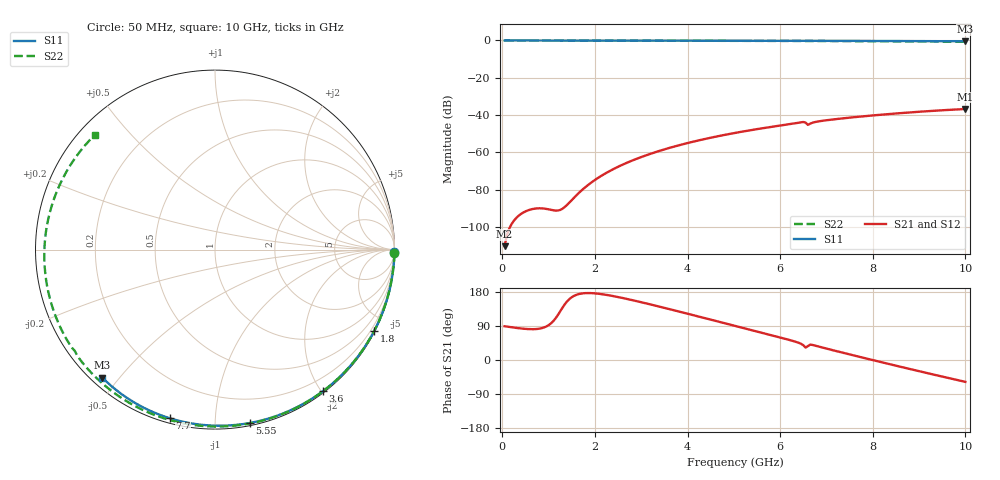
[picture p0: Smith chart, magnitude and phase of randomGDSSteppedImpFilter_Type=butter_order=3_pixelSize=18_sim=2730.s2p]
! freq	dB(S11)	phase(S11)	dB(S12)	phase(S12)
!  dB(S21)	phase(S21)	dB(S22)	phase(S22)
!S-par simulation data
#  GHz  S  DB  R 50
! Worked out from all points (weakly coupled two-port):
!   200 points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, 50 MHz to 10 GHz, reference 50 ohm
!   highest |S21| = -36.78 dB at 10 GHz (marker M1); lowest = -110.4 dB at 50 MHz (marker M2)
!   lowest |S11| = -0.4 dB at 10 GHz (marker M3), VSWR 39.21, Z = 1.54 - j22.6 ohm
!   |S11| at or under -10 dB: nowhere
!   |S22| runs from -0.7 to 0.0 dB; largest |S21 - S12| = 0
!   S11 on the Smith chart (normalised r, x): 50 MHz: open; 1.8 GHz: 0.04, -4.18; 3.6 GHz: 0.02, -2.02; 5.55 GHz: 0.02, -1.22; 7.7 GHz: 0.02, -0.77; 10 GHz: 0.03, -0.45
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0.05  -0.00 -0.8  -110.39 89.1  -110.39 89.1  -0.00 -1.2
0.85  -0.02 -12.8  -90.09 84.0  -90.09 84.0  -0.03 -20.4
1.7  -0.03 -25.5  -80.72 175.2  -80.72 175.2  -0.05 -40.3
1.75  -0.03 -26.2  -79.63 176.0  -79.63 176.0  -0.05 -41.5
1.8  -0.03 -26.9  -78.58 176.5  -78.58 176.5  -0.05 -42.6
2.1  -0.04 -31.3  -73.23 174.5  -73.23 174.5  -0.06 -49.5
2.45  -0.05 -36.4  -68.38 167.4  -68.38 167.4  -0.07 -57.4
2.9  -0.06 -42.8  -63.50 155.4  -63.50 155.4  -0.09 -67.4
3.4  -0.07 -49.9  -59.20 140.6  -59.20 140.6  -0.10 -78.3
3.6  -0.07 -52.6  -57.72 134.5  -57.72 134.5  -0.11 -82.6
4.3  -0.09 -62.2  -53.29 112.8  -53.29 112.8  -0.14 -97.4
5.05  -0.11 -72.2  -49.50 89.3  -49.50 89.3  -0.17 -112.9
5.55  -0.13 -78.6  -47.38 73.6  -47.38 73.6  -0.20 -123.1
6.5  -0.17 -90.5  -43.75 39.0  -43.75 39.0  -0.28 -142.6
6.55  -0.17 -91.2  -44.11 32.7  -44.11 32.7  -0.31 -143.7
6.6  -0.18 -91.8  -45.30 36.8  -45.30 36.8  -0.32 -144.4
6.7  -0.18 -93.0  -44.14 39.7  -44.14 39.7  -0.29 -146.5
7  -0.20 -96.6  -42.82 30.1  -42.82 30.1  -0.31 -152.8
7.7  -0.24 -105.0  -40.92 8.7  -40.92 8.7  -0.38 -167.7
8.35  -0.29 -112.6  -39.49 -10.6  -39.49 -10.6  -0.45 177.8
9.2  -0.36 -122.3  -37.93 -35.3  -37.93 -35.3  -0.56 157.5
10  -0.44 -131.3  -36.78 -57.7  -36.78 -57.7  -0.67 136.3
